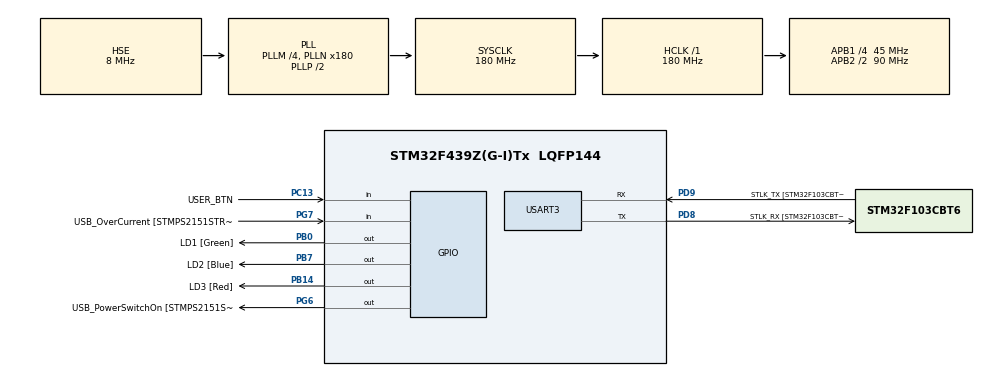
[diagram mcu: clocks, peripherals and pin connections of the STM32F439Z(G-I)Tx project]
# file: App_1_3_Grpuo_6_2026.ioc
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Mcu.Family=STM32F4
Mcu.Name=STM32F439Z(G-I)Tx
Mcu.Package=LQFP144
NVIC.PriorityGroup=NVIC_PRIORITYGROUP_4
PA13.GPIO_Label=TMS
PA13.Mode=Serial_Wire
PA13.Signal=SYS_JTMS-SWDIO
PA14.GPIO_Label=TCK
PA14.Mode=Serial_Wire
PA14.Signal=SYS_JTCK-SWCLK
PB0.GPIO_Label=LD1 [Green]
PB0.Signal=GPIO_Output
PB14.GPIO_Label=LD3 [Red]
PB14.Signal=GPIO_Output
PB7.GPIO_Label=LD2 [Blue]
PB7.Signal=GPIO_Output
PC13.GPIO_Label=USER_BTN
PC13.Signal=GPIO_Input
PC14/OSC32_IN.Mode=LSE-External-Oscillator
PC14/OSC32_IN.Signal=RCC_OSC32_IN
PC15/OSC32_OUT.Mode=LSE-External-Oscillator
PC15/OSC32_OUT.Signal=RCC_OSC32_OUT
PD8.GPIO_Label=STLK_RX [STM32F103CBT6_PA3]
PD8.Mode=Asynchronous
PD8.Signal=USART3_TX
PD9.GPIO_Label=STLK_TX [STM32F103CBT6_PA2]
PD9.Mode=Asynchronous
PD9.Signal=USART3_RX
PG6.GPIO_Label=USB_PowerSwitchOn [STMPS2151STR_EN]
PG6.Signal=GPIO_Output
PG7.GPIO_Label=USB_OverCurrent [STMPS2151STR_FAULT]
PG7.Signal=GPIO_Input
PH0/OSC_IN.GPIO_Label=MCO [STM32F103CBT6_PA8]
PH0/OSC_IN.Mode=HSE-External-Clock-Source
PH0/OSC_IN.Signal=RCC_OSC_IN
PH1/OSC_OUT.Mode=HSE-External-Clock-Source
PH1/OSC_OUT.Signal=RCC_OSC_OUT
ProjectManager.HeapSize=0x200
ProjectManager.StackSize=0x400
ProjectManager.TargetToolchain=STM32CubeIDE
RCC.48MHZClocksFreq_Value=51428571.428571425
RCC.AHBFreq_Value=180000000
RCC.APB1CLKDivider=RCC_HCLK_DIV4
RCC.APB1Freq_Value=45000000
RCC.APB1TimFreq_Value=90000000
RCC.APB2CLKDivider=RCC_HCLK_DIV2
RCC.APB2Freq_Value=90000000
RCC.APB2TimFreq_Value=180000000
RCC.CortexFreq_Value=180000000
RCC.HCLKFreq_Value=180000000
RCC.HSE_VALUE=8000000
RCC.HSI_VALUE=16000000
RCC.PLLM=4
RCC.PLLMUL=RCC_PLL_MUL9
RCC.PLLN=180
RCC.PLLQ=7
RCC.PLLSourceVirtual=RCC_PLLSOURCE_HSE
RCC.PRESCALERUSB=RCC_USBCLKSOURCE_PLL_DIV1_5
RCC.SYSCLKFreq_VALUE=180000000
RCC.SYSCLKSource=RCC_SYSCLKSOURCE_PLLCLK
RCC.SYSCLKSourceVirtual=RCC_SYSCLKSOURCE_PLLCLK
RCC.USBFreq_Value=48000000
RCC.VCOOutputFreq_Value=360000000
USART3.VirtualMode=VM_ASYNC
board=NUCLEO-F439ZI

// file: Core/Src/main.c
/* USER CODE BEGIN Header */
/**
  ******************************************************************************
  * @file           : main.c
  * @brief          : Main program body
  ******************************************************************************
  * @attention
  *
  * Copyright (c) 2026 STMicroelectronics.
  * All rights reserved.
  *
  * This software is licensed under terms that can be found in the LICENSE file
  * in the root directory of this software component.
  * If no LICENSE file comes with this software, it is provided AS-IS.
  *
  ******************************************************************************
  */
/* USER CODE END Header */
#include "main.h"

/* USER CODE BEGIN Includes */
#include "stdbool.h"
/* USER CODE END Includes */

/* USER CODE BEGIN PTD */

/** * @brief Estructura para el mapeo de hardware.
 * Permite desacoplar la lógica de control de los pines físicos.
 */
typedef struct{
	GPIO_TypeDef* port;  	// Puntero a la estructura de registros del puerto (GPIOA, GPIOB, etc.)
	uint16_t pin;       	// Máscara del pin (GPIO_PIN_0, etc.)
} GPIO_Config_t;

/** * @brief Definición de estados para la MEF.
 */
typedef enum{
	Estado_Encendido = 0,
	Estado_Apagado
} Estado_t;

/* USER CODE END PTD */

UART_HandleTypeDef huart3;

/* USER CODE BEGIN PV */

/** * @brief Arreglo de configuración de hardware.
 * Se define como 'const' para residir en Flash y ahorrar RAM.
 */
const GPIO_Config_t leds_array [] = {
		{LD1_GPIO_Port, LD1_Pin},
		{LD2_GPIO_Port, LD2_Pin},
		{LD3_GPIO_Port, LD3_Pin}
};

const uint8_t cant_leds = sizeof (leds_array) / sizeof(leds_array[0]);	// Se calcula automaticamente la cantidad de elementos del array

const uint32_t tiempos[] = {100, 250, 500, 1000};

const uint8_t cant_intervalos = sizeof (tiempos)/ sizeof(tiempos[0]);
static uint8_t indice_tiempo = 0;
static bool btn_presionado = false;

/* USER CODE END PV */

void SystemClock_Config(void);
static void MX_GPIO_Init(void);
static void MX_USART3_UART_Init(void);

int main(void)
{

  /* MCU Configuration--------------------------------------------------------*/

  /* Reset of all peripherals, Initializes the Flash interface and the Systick. */
  HAL_Init();

  /* Configure the system clock */
  SystemClock_Config();

  /* Initialize all configured peripherals */
  MX_GPIO_Init();
  MX_USART3_UART_Init();

  /* Infinite loop */
  while (1)
  {

    /* USER CODE BEGIN 3 */

	  /* 1. Capa de Entrada (Botón) */
	      if (HAL_GPIO_ReadPin(USER_BTN_GPIO_Port, USER_BTN_Pin) == GPIO_PIN_SET) {
	          if (!btn_presionado) {
	              indice_tiempo++;
	              if (indice_tiempo >= cant_intervalos) indice_tiempo = 0;
	              btn_presionado = true;
	          }
	      } else {
	          btn_presionado = false;
	      }

	      /* 2. Capa de Procesamiento (Parpadeo) */
	      // Toggle simultáneo de los 3 LEDs
	      for(uint8_t i = 0; i < cant_leds; i++) {
	          HAL_GPIO_TogglePin(leds_array[i].port, leds_array[i].pin);
	      }

	      // Espera según la frecuencia seleccionada
	      HAL_Delay(tiempos[indice_tiempo]);
  }
  /* USER CODE END 3 */
}

void SystemClock_Config(void)
{
  RCC_OscInitTypeDef RCC_OscInitStruct = {0};
  RCC_ClkInitTypeDef RCC_ClkInitStruct = {0};

  /** Configure the main internal regulator output voltage
  */
  __HAL_RCC_PWR_CLK_ENABLE();
  __HAL_PWR_VOLTAGESCALING_CONFIG(PWR_REGULATOR_VOLTAGE_SCALE1);

  /** Initializes the RCC Oscillators according to the specified parameters
  * in the RCC_OscInitTypeDef structure.
  */
  RCC_OscInitStruct.OscillatorType = RCC_OSCILLATORTYPE_HSE;
  RCC_OscInitStruct.HSEState = RCC_HSE_BYPASS;
  RCC_OscInitStruct.PLL.PLLState = RCC_PLL_ON;
  RCC_OscInitStruct.PLL.PLLSource = RCC_PLLSOURCE_HSE;
  RCC_OscInitStruct.PLL.PLLM = 4;
  RCC_OscInitStruct.PLL.PLLN = 180;
  RCC_OscInitStruct.PLL.PLLP = RCC_PLLP_DIV2;
  RCC_OscInitStruct.PLL.PLLQ = 7;
  if (HAL_RCC_OscConfig(&RCC_OscInitStruct) != HAL_OK)
  {
    Error_Handler();
  }

  /** Activate the Over-Drive mode
  */
  if (HAL_PWREx_EnableOverDrive() != HAL_OK)
  {
    Error_Handler();
  }

  /** Initializes the CPU, AHB and APB buses clocks
  */
  RCC_ClkInitStruct.ClockType = RCC_CLOCKTYPE_HCLK|RCC_CLOCKTYPE_SYSCLK
                              |RCC_CLOCKTYPE_PCLK1|RCC_CLOCKTYPE_PCLK2;
  RCC_ClkInitStruct.SYSCLKSource = RCC_SYSCLKSOURCE_PLLCLK;
  RCC_ClkInitStruct.AHBCLKDivider = RCC_SYSCLK_DIV1;
  RCC_ClkInitStruct.APB1CLKDivider = RCC_HCLK_DIV4;
  RCC_ClkInitStruct.APB2CLKDivider = RCC_HCLK_DIV2;

  if (HAL_RCC_ClockConfig(&RCC_ClkInitStruct, FLASH_LATENCY_5) != HAL_OK)
  {
    Error_Handler();
  }
}

static void MX_USART3_UART_Init(void)
{

  huart3.Instance = USART3;
  huart3.Init.BaudRate = 115200;
  huart3.Init.WordLength = UART_WORDLENGTH_8B;
  huart3.Init.StopBits = UART_STOPBITS_1;
  huart3.Init.Parity = UART_PARITY_NONE;
  huart3.Init.Mode = UART_MODE_TX_RX;
  huart3.Init.HwFlowCtl = UART_HWCONTROL_NONE;
  huart3.Init.OverSampling = UART_OVERSAMPLING_16;
  if (HAL_UART_Init(&huart3) != HAL_OK)
  {
    Error_Handler();
  }

}

static void MX_GPIO_Init(void)
{
  GPIO_InitTypeDef GPIO_InitStruct = {0};

  /* GPIO Ports Clock Enable */
  __HAL_RCC_GPIOC_CLK_ENABLE();
  __HAL_RCC_GPIOH_CLK_ENABLE();
  __HAL_RCC_GPIOB_CLK_ENABLE();
  __HAL_RCC_GPIOD_CLK_ENABLE();
  __HAL_RCC_GPIOG_CLK_ENABLE();
  __HAL_RCC_GPIOA_CLK_ENABLE();

  /*Configure GPIO pin Output Level */
  HAL_GPIO_WritePin(GPIOB, LD1_Pin|LD3_Pin|LD2_Pin, GPIO_PIN_RESET);

  /*Configure GPIO pin Output Level */
  HAL_GPIO_WritePin(USB_PowerSwitchOn_GPIO_Port, USB_PowerSwitchOn_Pin, GPIO_PIN_RESET);

  /*Configure GPIO pin : USER_BTN_Pin */
  GPIO_InitStruct.Pin = USER_BTN_Pin;
  GPIO_InitStruct.Mode = GPIO_MODE_INPUT;
  GPIO_InitStruct.Pull = GPIO_NOPULL;
  HAL_GPIO_Init(USER_BTN_GPIO_Port, &GPIO_InitStruct);

  /*Configure GPIO pins : LD1_Pin LD3_Pin LD2_Pin */
  GPIO_InitStruct.Pin = LD1_Pin|LD3_Pin|LD2_Pin;
  GPIO_InitStruct.Mode = GPIO_MODE_OUTPUT_PP;
  GPIO_InitStruct.Pull = GPIO_NOPULL;
  GPIO_InitStruct.Speed = GPIO_SPEED_FREQ_LOW;
  HAL_GPIO_Init(GPIOB, &GPIO_InitStruct);

  /*Configure GPIO pin : USB_PowerSwitchOn_Pin */
  GPIO_InitStruct.Pin = USB_PowerSwitchOn_Pin;
  GPIO_InitStruct.Mode = GPIO_MODE_OUTPUT_PP;
  GPIO_InitStruct.Pull = GPIO_NOPULL;
  GPIO_InitStruct.Speed = GPIO_SPEED_FREQ_LOW;
  HAL_GPIO_Init(USB_PowerSwitchOn_GPIO_Port, &GPIO_InitStruct);

  /*Configure GPIO pin : USB_OverCurrent_Pin */
  GPIO_InitStruct.Pin = USB_OverCurrent_Pin;
  GPIO_InitStruct.Mode = GPIO_MODE_INPUT;
  GPIO_InitStruct.Pull = GPIO_NOPULL;
  HAL_GPIO_Init(USB_OverCurrent_GPIO_Port, &GPIO_InitStruct);

}

void Error_Handler(void)
{
  __disable_irq();
  while (1)
  {
  }
}
